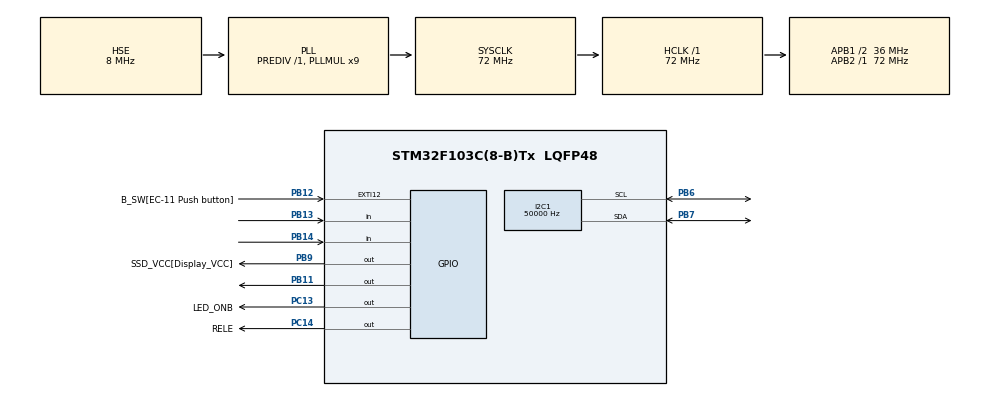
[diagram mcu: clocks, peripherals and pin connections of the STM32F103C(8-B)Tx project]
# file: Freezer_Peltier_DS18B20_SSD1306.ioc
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I2C1.ClockSpeed=50000
Mcu.Family=STM32F1
Mcu.Name=STM32F103C(8-B)Tx
Mcu.Package=LQFP48
NVIC.EXTI15_10_IRQn=true\:0\:0\:false\:false\:true\:true\:true
NVIC.PriorityGroup=NVIC_PRIORITYGROUP_4
PA13.Mode=Serial_Wire
PA13.Signal=SYS_JTMS-SWDIO
PA14.Mode=Serial_Wire
PA14.Signal=SYS_JTCK-SWCLK
PB11.Signal=GPIO_Output
PB12.GPIO_Label=B_SW[EC-11 Push button]
PB12.GPIO_PuPd=GPIO_PULLDOWN
PB12.Signal=GPXTI12
PB13.Signal=GPIO_Input
PB14.Signal=GPIO_Input
PB6.Mode=I2C
PB6.Signal=I2C1_SCL
PB7.Mode=I2C
PB7.Signal=I2C1_SDA
PB9.GPIO_Label=SSD_VCC[Display_VCC]
PB9.Signal=GPIO_Output
PC13-TAMPER-RTC.GPIO_Label=LED_ONB
PC13-TAMPER-RTC.Signal=GPIO_Output
PC14-OSC32_IN.GPIO_Label=RELE
PC14-OSC32_IN.GPIO_ModeDefaultOutputPP=GPIO_MODE_OUTPUT_OD
PC14-OSC32_IN.GPIO_PuPd=GPIO_PULLUP
PC14-OSC32_IN.Signal=GPIO_Output
PD0-OSC_IN.Mode=HSE-External-Oscillator
PD0-OSC_IN.Signal=RCC_OSC_IN
PD1-OSC_OUT.Mode=HSE-External-Oscillator
PD1-OSC_OUT.Signal=RCC_OSC_OUT
ProjectManager.HeapSize=0x200
ProjectManager.StackSize=0x400
ProjectManager.TargetToolchain=STM32CubeIDE
RCC.AHBFreq_Value=72000000
RCC.APB1CLKDivider=RCC_HCLK_DIV2
RCC.APB1Freq_Value=36000000
RCC.APB1TimFreq_Value=72000000
RCC.APB2Freq_Value=72000000
RCC.APB2TimFreq_Value=72000000
RCC.HCLKFreq_Value=72000000
RCC.PLLMUL=RCC_PLL_MUL9
RCC.PLLSourceVirtual=RCC_PLLSOURCE_HSE
RCC.SYSCLKFreq_VALUE=72000000
RCC.SYSCLKSource=RCC_SYSCLKSOURCE_PLLCLK
RCC.USBFreq_Value=72000000
TIM1.Period=0xffff-1
TIM1.Prescaler=72-1
VP_TIM1_VS_ClockSourceINT.Mode=Internal
board=custom

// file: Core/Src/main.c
/* USER CODE BEGIN Header */
/**
 ******************************************************************************
 * @file           : main.c
 * @brief          : Main program body
 ******************************************************************************
 * @attention
 *
 * <h2><center>&copy; Copyright (c) 2022 STMicroelectronics.
 * All rights reserved.</center></h2>
 *
 * This software component is licensed by ST under BSD 3-Clause license,
 * the "License"; You may not use this file except in compliance with the
 * License. You may obtain a copy of the License at:
 *                        opensource.org/licenses/BSD-3-Clause
 *
 ******************************************************************************
 */
/* USER CODE END Header */
#include "main.h"

/* USER CODE BEGIN Includes */
#include "stdio.h"

#include "ssd1306.h"
#include "catito.h"
#include "fonts.h"
#include "tim_1.h"
#include "ds18b20.h"

/* USER CODE END Includes */

I2C_HandleTypeDef hi2c1;

TIM_HandleTypeDef htim1;

/* USER CODE BEGIN PV */

extern uint8_t SSD1306_Buffer[1025];

/*	--- DS18B20 --- */
float Temperature = 0;
uint8_t Presence = 0;

//TEXT
char Temperature_txt[4];

/*	--- DS18B20 END --- */

/* --- PELTIER --- */

char Vpeltier_txt[6] = { '1', '2', ',', '8', 'v', '\0' };

/* --- PELTIER END --- */

/* USER CODE END PV */

void SystemClock_Config(void);
static void MX_GPIO_Init(void);
static void MX_I2C1_Init(void);
static void MX_TIM1_Init(void);

int main(void) {

	/* MCU Configuration--------------------------------------------------------*/

	/* Reset of all peripherals, Initializes the Flash interface and the Systick. */
	HAL_Init();

	/* Configure the system clock */
	SystemClock_Config();

	/* Initialize all configured peripherals */
	MX_GPIO_Init();
	MX_I2C1_Init();
	MX_TIM1_Init();
	/* USER CODE BEGIN 2 */
	HAL_TIM_Base_Start(&htim1);

	HAL_GPIO_WritePin(SSD_VCC_GPIO_Port, SSD_VCC_Pin, 1);
	OLED_INIT();
	SSD1306_UpdateScreen();
	/* USER CODE END 2 */

	/* Infinite loop */
	/* USER CODE BEGIN WHILE */

	/*	--- INTRO ---	*/

	if (1) {
		SSD1306_InvertDisplay(1);
		SSD1306_Draw_intrologo(catito, 1);
		SSD1306_InvertDisplay(0);
		SSD1306_Draw_intrologo(catito, 1);

		SSD1306_InvertDisplay(0);
		SSD1306_DrawIntroFreezer(3000);
	}

	/*	--- INTRO END ---	*/

	/**/

	/*	--- PAINEL DE TEMPERATURA --- */

	//Temperature = DS18B20_Run(&Presence);
	//SUPERIOR AREA - TENSAO PELTIER  // TODO: Create a function to get the voltage of the peltier
	SSD1306_GotoXY(2, 0);
	SSD1306_Puts("Vpeltier:  ", &Font_7x10, 1);
	SSD1306_Puts(Vpeltier_txt, &Font_7x10, 1);

	//CENTRAL AREA - TEMPERATURA
	sprintf(Temperature_txt, "%.1f", Temperature); /* Converts number to string */

	SSD1306_GotoXY(5, 15);
	SSD1306_Puts("--", &Font_16x26, 1);
	SSD1306_Puts(" C", &Font_16x26, 1);
	SSD1306_DrawCircle(SSD1306.CurrentX + 4, SSD1306.CurrentY + 4, 2, 1); /* Draws the grade sign -> "°" <- */

	//INFERIOR AREA - MENU
	SSD1306_GotoXY(1, 64 - 18);
	SSD1306_Puts("Menu", &Font_11x18, 1);
	SSD1306_UpdateScreen();
	/*	--- PAINEL DE TEMPERATURA END --- */

	while (1) {

		/*	TESTES 	*/

		while (0) {
			HAL_Delay(1000);
			HAL_GPIO_TogglePin(RELE_GPIO_Port, RELE_Pin);
			HAL_Delay(1000);
		}

		/*	TESTES END	*/

		/* ------------ DS18B20 ------------ */
		Temperature = DS18B20_Run(&Presence);
		/* ------------ DS18B20 END ------------ */

		/* --- PELTIER VOLTAGE --- */

		//TODO: Create a function to get the voltage of the peltier
		/* --- PELTIER VOLTAGE END --- */

		/* --- PANEL DRAW --- */

		sprintf(Temperature_txt, "%.1f", Temperature); /* Converts number to string */

		SSD1306_GotoXY(5, 15);
		SSD1306_Puts(Temperature_txt, &Font_16x26, 1);
		SSD1306_Puts(" C", &Font_16x26, 1);
		SSD1306_DrawCircle(SSD1306.CurrentX + 4, SSD1306.CurrentY + 4, 2, 1); /* Draws the grade sign -> "°" <- */

		/* --- PANEL DRAW END --- */

		/* --- */

		/* --- ACTUATORS --- */
		if (Temperature > 25) {
			//HAL_GPIO_WritePin(RELE_GPIO_Port, RELE_Pin, 1);
			HAL_GPIO_WritePin(LED_ONB_GPIO_Port, LED_ONB_Pin, 0);
			SSD1306_GotoXY(75, 64 - 18);
			SSD1306_Puts("ON ", &Font_11x18, 1);
			SSD1306_UpdateScreen();
		} else {
			//HAL_GPIO_WritePin(RELE_GPIO_Port, RELE_Pin, 0);
			HAL_GPIO_WritePin(LED_ONB_GPIO_Port, LED_ONB_Pin, 1);
			SSD1306_GotoXY(75, 64 - 18);
			SSD1306_Puts("OFF", &Font_11x18, 1);
			SSD1306_UpdateScreen();
		}
		/* --- ACTUATORS END --- */

//
//		sprintf(Temperature_txt, "%.1f", Temperature); /* Converts number to string */
//
//		SSD1306_GotoXY(5, 15);
//		SSD1306_Puts(Temperature_txt, &Font_16x26, 1);
//		SSD1306_Puts(" C", &Font_16x26, 1);
//		SSD1306_DrawCircle(SSD1306.CurrentX + 4, SSD1306.CurrentY + 4, 2, 1); /* Draws the grade sign -> "°" <- */
//		SSD1306_UpdateScreen();
//
//		HAL_Delay(100);
	}
	/* USER CODE END WHILE */

	/* USER CODE BEGIN 3 */
}

void HAL_GPIO_EXTI_Callback(uint16_t GPIO_Pin) {

	if (GPIO_Pin == B_SW_Pin) {
		delay_us(1000);
		HAL_GPIO_TogglePin(RELE_GPIO_Port, RELE_Pin);

		SSD1306_DrawFilledRectangle(1, 64 - 18, (11 * 4) - 1, 18, 0);
		SSD1306_GotoXY(1, 64 - 18);
		SSD1306_Puts("Menu", &Font_11x18, 0);
		SSD1306_UpdateScreen();

		SSD1306_GotoXY(65, 64 - 18);
		SSD1306_Puts("XABLAUUU", &Font_11x18, 1);

		delay_us(1000);
	}

}

/* USER CODE END 3 */

void SystemClock_Config(void) {
	RCC_OscInitTypeDef RCC_OscInitStruct = { 0 };
	RCC_ClkInitTypeDef RCC_ClkInitStruct = { 0 };

	/** Initializes the RCC Oscillators according to the specified parameters
	 * in the RCC_OscInitTypeDef structure.
	 */
	RCC_OscInitStruct.OscillatorType = RCC_OSCILLATORTYPE_HSE;
	RCC_OscInitStruct.HSEState = RCC_HSE_ON;
	RCC_OscInitStruct.HSEPredivValue = RCC_HSE_PREDIV_DIV1;
	RCC_OscInitStruct.HSIState = RCC_HSI_ON;
	RCC_OscInitStruct.PLL.PLLState = RCC_PLL_ON;
	RCC_OscInitStruct.PLL.PLLSource = RCC_PLLSOURCE_HSE;
	RCC_OscInitStruct.PLL.PLLMUL = RCC_PLL_MUL9;
	if (HAL_RCC_OscConfig(&RCC_OscInitStruct) != HAL_OK) {
		Error_Handler();
	}
	/** Initializes the CPU, AHB and APB buses clocks
	 */
	RCC_ClkInitStruct.ClockType = RCC_CLOCKTYPE_HCLK | RCC_CLOCKTYPE_SYSCLK
			| RCC_CLOCKTYPE_PCLK1 | RCC_CLOCKTYPE_PCLK2;
	RCC_ClkInitStruct.SYSCLKSource = RCC_SYSCLKSOURCE_PLLCLK;
	RCC_ClkInitStruct.AHBCLKDivider = RCC_SYSCLK_DIV1;
	RCC_ClkInitStruct.APB1CLKDivider = RCC_HCLK_DIV2;
	RCC_ClkInitStruct.APB2CLKDivider = RCC_HCLK_DIV1;

	if (HAL_RCC_ClockConfig(&RCC_ClkInitStruct, FLASH_LATENCY_2) != HAL_OK) {
		Error_Handler();
	}
}

static void MX_I2C1_Init(void) {

	hi2c1.Instance = I2C1;
	hi2c1.Init.ClockSpeed = 50000;
	hi2c1.Init.DutyCycle = I2C_DUTYCYCLE_2;
	hi2c1.Init.OwnAddress1 = 0;
	hi2c1.Init.AddressingMode = I2C_ADDRESSINGMODE_7BIT;
	hi2c1.Init.DualAddressMode = I2C_DUALADDRESS_DISABLE;
	hi2c1.Init.OwnAddress2 = 0;
	hi2c1.Init.GeneralCallMode = I2C_GENERALCALL_DISABLE;
	hi2c1.Init.NoStretchMode = I2C_NOSTRETCH_DISABLE;
	if (HAL_I2C_Init(&hi2c1) != HAL_OK) {
		Error_Handler();
	}

}

static void MX_TIM1_Init(void) {

	TIM_ClockConfigTypeDef sClockSourceConfig = { 0 };
	TIM_MasterConfigTypeDef sMasterConfig = { 0 };

	htim1.Instance = TIM1;
	htim1.Init.Prescaler = 72 - 1;
	htim1.Init.CounterMode = TIM_COUNTERMODE_UP;
	htim1.Init.Period = 0xffff - 1;
	htim1.Init.ClockDivision = TIM_CLOCKDIVISION_DIV1;
	htim1.Init.RepetitionCounter = 0;
	htim1.Init.AutoReloadPreload = TIM_AUTORELOAD_PRELOAD_DISABLE;
	if (HAL_TIM_Base_Init(&htim1) != HAL_OK) {
		Error_Handler();
	}
	sClockSourceConfig.ClockSource = TIM_CLOCKSOURCE_INTERNAL;
	if (HAL_TIM_ConfigClockSource(&htim1, &sClockSourceConfig) != HAL_OK) {
		Error_Handler();
	}
	sMasterConfig.MasterOutputTrigger = TIM_TRGO_RESET;
	sMasterConfig.MasterSlaveMode = TIM_MASTERSLAVEMODE_DISABLE;
	if (HAL_TIMEx_MasterConfigSynchronization(&htim1, &sMasterConfig)
			!= HAL_OK) {
		Error_Handler();
	}

}

static void MX_GPIO_Init(void) {
	GPIO_InitTypeDef GPIO_InitStruct = { 0 };

	/* GPIO Ports Clock Enable */
	__HAL_RCC_GPIOC_CLK_ENABLE();
	__HAL_RCC_GPIOD_CLK_ENABLE();
	__HAL_RCC_GPIOB_CLK_ENABLE();
	__HAL_RCC_GPIOA_CLK_ENABLE();

	/*Configure GPIO pin Output Level */
	HAL_GPIO_WritePin(GPIOC, LED_ONB_Pin | RELE_Pin, GPIO_PIN_RESET);

	/*Configure GPIO pin Output Level */
	HAL_GPIO_WritePin(GPIOB, GPIO_PIN_11 | SSD_VCC_Pin, GPIO_PIN_RESET);

	/*Configure GPIO pin : LED_ONB_Pin */
	GPIO_InitStruct.Pin = LED_ONB_Pin;
	GPIO_InitStruct.Mode = GPIO_MODE_OUTPUT_PP;
	GPIO_InitStruct.Pull = GPIO_NOPULL;
	GPIO_InitStruct.Speed = GPIO_SPEED_FREQ_LOW;
	HAL_GPIO_Init(LED_ONB_GPIO_Port, &GPIO_InitStruct);

	/*Configure GPIO pin : RELE_Pin */
	GPIO_InitStruct.Pin = RELE_Pin;
	GPIO_InitStruct.Mode = GPIO_MODE_OUTPUT_PP;
	GPIO_InitStruct.Pull = GPIO_PULLUP;
	GPIO_InitStruct.Speed = GPIO_SPEED_FREQ_LOW;
	HAL_GPIO_Init(RELE_GPIO_Port, &GPIO_InitStruct);

	/*Configure GPIO pins : PB11 SSD_VCC_Pin */
	GPIO_InitStruct.Pin = GPIO_PIN_11 | SSD_VCC_Pin;
	GPIO_InitStruct.Mode = GPIO_MODE_OUTPUT_PP;
	GPIO_InitStruct.Pull = GPIO_NOPULL;
	GPIO_InitStruct.Speed = GPIO_SPEED_FREQ_LOW;
	HAL_GPIO_Init(GPIOB, &GPIO_InitStruct);

	/*Configure GPIO pin : B_SW_Pin */
	GPIO_InitStruct.Pin = B_SW_Pin;
	GPIO_InitStruct.Mode = GPIO_MODE_IT_RISING;
	GPIO_InitStruct.Pull = GPIO_NOPULL;
	HAL_GPIO_Init(B_SW_GPIO_Port, &GPIO_InitStruct);

	/*Configure GPIO pins : PB13 PB14 */
	GPIO_InitStruct.Pin = GPIO_PIN_13 | GPIO_PIN_14;
	GPIO_InitStruct.Mode = GPIO_MODE_INPUT;
	GPIO_InitStruct.Pull = GPIO_NOPULL;
	HAL_GPIO_Init(GPIOB, &GPIO_InitStruct);

	/* EXTI interrupt init*/
	HAL_NVIC_SetPriority(EXTI15_10_IRQn, 0, 0);
	HAL_NVIC_EnableIRQ(EXTI15_10_IRQn);

}

void Error_Handler(void) {
	__disable_irq();
	while (1) {
	}
}
